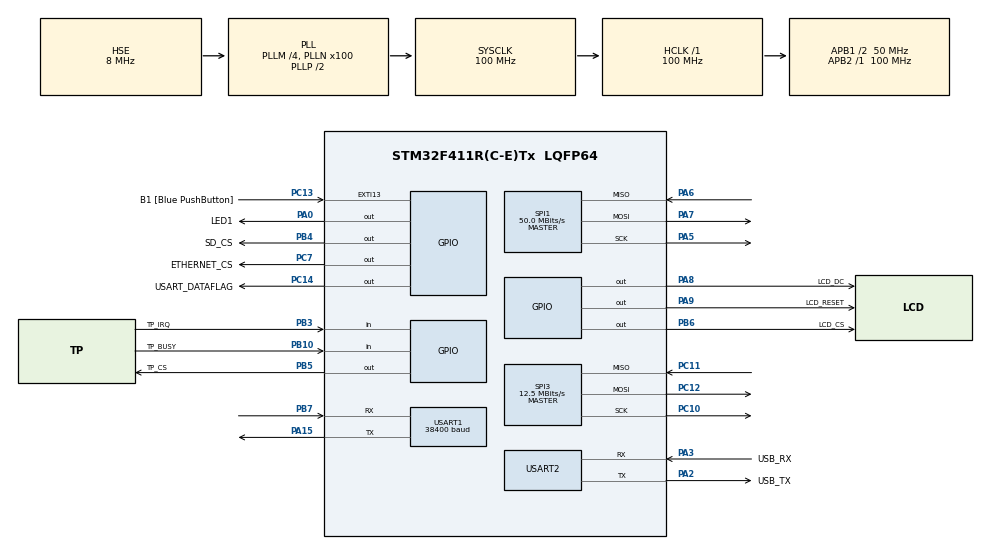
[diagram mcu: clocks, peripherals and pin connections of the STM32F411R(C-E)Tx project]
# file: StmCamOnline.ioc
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Mcu.Family=STM32F4
Mcu.Name=STM32F411R(C-E)Tx
Mcu.Package=LQFP64
NVIC.PriorityGroup=NVIC_PRIORITYGROUP_0
NVIC.USART1_IRQn=true\:0\:0\:false\:false\:true\:true\:true
NVIC.USART2_IRQn=true\:0\:0\:false\:false\:true\:true\:true
PA0-WKUP.GPIO_Label=LED1
PA0-WKUP.GPIO_Speed=GPIO_SPEED_FREQ_LOW
PA0-WKUP.Signal=GPIO_Output
PA13.GPIO_Label=TMS
PA13.Mode=Serial_Wire
PA13.Signal=SYS_JTMS-SWDIO
PA14.GPIO_Label=TCK
PA14.Mode=Serial_Wire
PA14.Signal=SYS_JTCK-SWCLK
PA15.Mode=Asynchronous
PA15.Signal=USART1_TX
PA2.GPIO_Label=USB_TX
PA2.Mode=Asynchronous
PA2.Signal=USART2_TX
PA3.GPIO_Label=USB_RX
PA3.Mode=Asynchronous
PA3.Signal=USART2_RX
PA5.Mode=Full_Duplex_Master
PA5.Signal=SPI1_SCK
PA6.Mode=Full_Duplex_Master
PA6.Signal=SPI1_MISO
PA7.Mode=Full_Duplex_Master
PA7.Signal=SPI1_MOSI
PA8.GPIO_Label=LCD_DC
PA8.GPIO_Speed=GPIO_SPEED_FREQ_VERY_HIGH
PA8.Signal=GPIO_Output
PA9.GPIO_Label=LCD_RESET
PA9.GPIO_Speed=GPIO_SPEED_FREQ_VERY_HIGH
PA9.Signal=GPIO_Output
PB10.GPIO_Label=TP_BUSY
PB10.Signal=GPIO_Input
PB3.GPIO_Label=TP_IRQ
PB3.Signal=GPIO_Input
PB4.GPIO_Label=SD_CS
PB4.GPIO_Speed=GPIO_SPEED_FREQ_VERY_HIGH
PB4.Signal=GPIO_Output
PB5.GPIO_Label=TP_CS
PB5.GPIO_Speed=GPIO_SPEED_FREQ_VERY_HIGH
PB5.Signal=GPIO_Output
PB6.GPIO_Label=LCD_CS
PB6.GPIO_Speed=GPIO_SPEED_FREQ_VERY_HIGH
PB6.Signal=GPIO_Output
PB7.Mode=Asynchronous
PB7.Signal=USART1_RX
PC10.Mode=Full_Duplex_Master
PC10.Signal=SPI3_SCK
PC11.Mode=Full_Duplex_Master
PC11.Signal=SPI3_MISO
PC12.Mode=Full_Duplex_Master
PC12.Signal=SPI3_MOSI
PC13-ANTI_TAMP.GPIO_Label=B1 [Blue PushButton]
PC13-ANTI_TAMP.GPIO_ModeDefaultEXTI=GPIO_MODE_IT_FALLING
PC13-ANTI_TAMP.GPIO_PuPd=GPIO_NOPULL
PC13-ANTI_TAMP.Signal=GPXTI13
PC14-OSC32_IN.GPIO_Label=USART_DATAFLAG
PC14-OSC32_IN.GPIO_Speed=GPIO_SPEED_FREQ_LOW
PC14-OSC32_IN.Signal=GPIO_Output
PC7.GPIO_Label=ETHERNET_CS
PC7.GPIO_Speed=GPIO_SPEED_FREQ_VERY_HIGH
PC7.Signal=GPIO_Output
PH0\ -\ OSC_IN.Mode=HSE-External-Clock-Source
PH0\ -\ OSC_IN.Signal=RCC_OSC_IN
PH1\ -\ OSC_OUT.Mode=HSE-External-Clock-Source
PH1\ -\ OSC_OUT.Signal=RCC_OSC_OUT
ProjectManager.HeapSize=0x200
ProjectManager.StackSize=0x400
ProjectManager.TargetToolchain=STM32CubeIDE
RCC.48MHZClocksFreq_Value=50000000
RCC.AHBFreq_Value=100000000
RCC.APB1CLKDivider=RCC_HCLK_DIV2
RCC.APB1Freq_Value=50000000
RCC.APB1TimFreq_Value=100000000
RCC.APB2Freq_Value=100000000
RCC.APB2TimFreq_Value=100000000
RCC.CortexFreq_Value=100000000
RCC.FLatency-AdvancedSettings=FLASH_LATENCY_3
RCC.HCLKFreq_Value=100000000
RCC.HSE_VALUE=8000000
RCC.HSI_VALUE=16000000
RCC.LSE_VALUE=32768
RCC.PLLM=4
RCC.PLLN=100
RCC.PLLSourceVirtual=RCC_PLLSOURCE_HSE
RCC.SYSCLKFreq_VALUE=100000000
RCC.SYSCLKSource=RCC_SYSCLKSOURCE_PLLCLK
RCC.VCOOutputFreq_Value=200000000
SPI1.CalculateBaudRate=50.0 MBits/s
SPI1.Direction=SPI_DIRECTION_2LINES
SPI1.Mode=SPI_MODE_MASTER
SPI1.VirtualType=VM_MASTER
SPI3.BaudRatePrescaler=SPI_BAUDRATEPRESCALER_4
SPI3.CalculateBaudRate=12.5 MBits/s
SPI3.Direction=SPI_DIRECTION_2LINES
SPI3.Mode=SPI_MODE_MASTER
SPI3.VirtualType=VM_MASTER
USART1.BaudRate=38400
USART1.VirtualMode=VM_ASYNC
USART2.VirtualMode=VM_ASYNC
board=NUCLEO-F411RE

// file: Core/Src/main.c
/* USER CODE BEGIN Header */
/**
  ******************************************************************************
  * @file           : main.c
  * @brief          : Main program body
  ******************************************************************************
  * @attention
  *
  * <h2><center>&copy; Copyright (c) 2019 STMicroelectronics.
  * All rights reserved.</center></h2>
  *
  * This software component is licensed by ST under BSD 3-Clause license,
  * the "License"; You may not use this file except in compliance with the
  * License. You may obtain a copy of the License at:
  *                        opensource.org/licenses/BSD-3-Clause
  *
  ******************************************************************************
  */
/* USER CODE END Header */

#include "main.h"
#include "spi.h"
#include "usart.h"
#include "gpio.h"

/* USER CODE BEGIN Includes */
#include <stdint.h>
#include <stdbool.h>
#include <stm32f4xx.h>
#include <stm32f4xx_hal.h>
//#include "stm32f4xx_hal.h"
//#include "arm_neon.h"  // no neon for cortex-m4
#include "stddef.h"
//#include <stm32f4xx_hal_dma_ex.h>  // dma extended functions
#include <string.h>
#include <stdio.h>
#include <float.h>
#include <math.h>
// those are for ETHERNET
#include "loopback.h"
#include "socket.h"
#include "wizchip_conf.h"
#include "w5500.h"
// those are for LCD + Touch
#include "ILI9341_STM32_Driver.h"
#include "ILI9341_GFX.h"
//#include "snow_tiger.h"

/* USER CODE END Includes */

/* USER CODE BEGIN PTD */
enum pixelcolor_t {
    unreliable = 64,
    edge = 126,
	no_edge = 0
} pixelcolor;

/* USER CODE END PTD */

/* USER CODE BEGIN PD */
#define PRINT_USB  // enables printing Network parameters and to USB serial monitor
#define LCD_USAGE	// comment out to disable LCD usage
//#define DEBUG_PRINT  // default commented. print debug switch to USB serial monitor

/* USER CODE END PD */

/* USER CODE BEGIN PM */

#ifdef PRINT_USB
#define NETWORK_MSG  		 "Network configuration:\r\n"
#define IP_MSG 		 		 "  IP ADDRESS:  %d.%d.%d.%d\r\n"
#define NETMASK_MSG	         "  NETMASK:     %d.%d.%d.%d\r\n"
#define GW_MSG 		 		 "  GATEWAY:     %d.%d.%d.%d\r\n"
#define MAC_MSG		 		 "  MAC ADDRESS: %x:%x:%x:%x:%x:%x\r\n"

#define PRINT_NETINFO(netInfo) do { 																					\
  HAL_UART_Transmit(&huart2, (uint8_t*)NETWORK_MSG, strlen(NETWORK_MSG), 100);											\
  sprintf(msg, MAC_MSG, netInfo.mac[0], netInfo.mac[1], netInfo.mac[2], netInfo.mac[3], netInfo.mac[4], netInfo.mac[5]);\
  HAL_UART_Transmit(&huart2, (uint8_t*)msg, strlen(msg), 100);															\
  sprintf(msg, IP_MSG, netInfo.ip[0], netInfo.ip[1], netInfo.ip[2], netInfo.ip[3]);										\
  HAL_UART_Transmit(&huart2, (uint8_t*)msg, strlen(msg), 100);															\
  sprintf(msg, NETMASK_MSG, netInfo.sn[0], netInfo.sn[1], netInfo.sn[2], netInfo.sn[3]);								\
  HAL_UART_Transmit(&huart2, (uint8_t*)msg, strlen(msg), 100);															\
  sprintf(msg, GW_MSG, netInfo.gw[0], netInfo.gw[1], netInfo.gw[2], netInfo.gw[3]);										\
  HAL_UART_Transmit(&huart2, (uint8_t*)msg, strlen(msg), 100);															\
} while(0)
#endif

#define CAM_BINARY_BUFSIZE 13176
#define CAM_FLOAT_BUFFSIZE 3294

/* USER CODE END PM */

/* USER CODE BEGIN PV */

// if edge is detected once in a frame
// flag is set to 1. Flag is cleared on every new frame
uint8_t edge_lock_flag = 0;
// if edge is detected this variable becomes the number of detection pixel
int32_t edge_position_variable = 0;

const uint8_t cam_request_cartesian = 'Z';	// request cartesian data from camera
const uint8_t cam_request_radial = 'D';	// request radial data from camera
const uint8_t cam_request_close = 'q';  // close connection to camera(not used)
static uint8_t msg[20]={0,};  // ethernet config debug printing

//  values for data exchange on UART1
volatile uint8_t uart_request_flag = 0;
char uart_request_command;

//************* control parameter ***************************************

// LCD draw mode to start with. 0 = raw image. 1 = filtered image
uint8_t LCDmode_flag = 1;
const uint8_t cam_destip[4] = {192, 168, 178, 69};	// camera has static ip
const uint16_t cam_destport = 50002;	//	camera ip port
uint16_t local_port = 49152;	// this must not be constant and is changed in runtime

// hystetesis values for edge detection
// values less tmin is falling edges (white)
// values between tmin and tmax is noise (black)
// values larger tmax are rising edges (white)

const float tmin = -0.18;
const float tmax = 0.18;
//***********************************************************************

uint8_t binarydata_buffer0[CAM_BINARY_BUFSIZE];  // 13176 bytes raw image data
float floatframe_buffer[CAM_FLOAT_BUFFSIZE];  // 3200 floats, header 94 floats

/* USER CODE END PV */

void SystemClock_Config(void);

/* USER CODE BEGIN 0 */

// function prototype definitions
void usb_transmit_byte(uint8_t transmit_int);
void usb_transmit_int(int32_t transmit_int);
void usb_transmit_uint(uint32_t transmit_uint);
void usb_transmit_float(float transmit_float);
void usb_transmit_char(char transmit_char);  // test this
void usb_transmit_string(char *transmit_string);  // test this
void set_LED(bool status);
void cs_sel();
void cs_desel();
uint8_t spi_rb(void);
void spi_wb(uint8_t buf);
void spi_rb_burst(uint8_t *buf, uint16_t len);
void spi_wb_burst(uint8_t *buf, uint16_t len);
void checkpushbutton(void);
int32_t get_cam_data(uint8_t *inputvar);
int32_t close_cam_connection(void);
float canny_edge_mod(const float *floatbuf);
float canny_filter_mod(void);
uint32_t yield_depth_color(float input);
uint32_t yield_edge_color(int8_t edge_value);
bool is_negative(float x);
inline uint32_t SwapByteOrder_32(uint32_t a);
inline uint32_t byteswap2little(uint8_t *value);
inline uint32_t checkfloatbytes(float C);
float pun2float(const uint8_t *buf);
float swap2float(uint8_t *buf);
uint32_t pun2int(const uint8_t *buf);

void drawsquare(float inputvar, uint32_t position);

void drawedge(uint32_t position, uint32_t color);
void detect_edge_hysteresis( float raw_input, float filter_input, int32_t position);
float accessfloatarray(uint8_t *buf, uint8_t floatposition);
void arrayreshaping(uint8_t *arrptr);
void set_edge_flag(int32_t edgeposition);
void uart_response(int32_t edgeposition);

/**
  * @brief  This function is used to print parts of the float array for testing and debugging
  * @retval none
  */
/*
void testfloatarray(void)
{
	float outfloat;
	//	int j = (3199-95);
		int j = 0;
		for(int i = j; i <j+10; i++)  // ok
		{
			usb_transmit_string("i = ");
			usb_transmit_int(i);  //
			usb_transmit_string(" - ");
			outfloat = floatframe_buffer[i];
			usb_transmit_float(outfloat);  //
			usb_transmit_string("\n\r");
		}

		for(int i = 50; i <60; i++)  // ok
		{
			usb_transmit_string("i = ");
			usb_transmit_int(i);  //
			usb_transmit_string(" - ");
			outfloat = floatframe_buffer[i];
			usb_transmit_float(outfloat);  //
			usb_transmit_string("\n\r");
		}

		for(int i = 3120; i <3136; i++)  // ok
		{
			usb_transmit_string("i = ");
			usb_transmit_int(i);  //
			usb_transmit_string(" - ");
			outfloat = floatframe_buffer[i];
			usb_transmit_float(outfloat);  //
			usb_transmit_string("\n\r");
		}

		for(int i = 3189; i <3200; i++)  // ok
		{
			usb_transmit_string("i = ");
			usb_transmit_int(i);  //
			usb_transmit_string(" - ");
			outfloat = floatframe_buffer[i];
			usb_transmit_float(outfloat);  //
			usb_transmit_string("\n\r");
		}
}
*/
/* @brief this function is called if an UART interrupt is raised,
 * means if UART1 received something. Its only purpose is to set the
 *  uart_request_flag and re-enable the interrupt.
 * it is part of the HAL driver.
 */
void HAL_UART_RxCpltCallback(UART_HandleTypeDef *huart)  // RX callback
{
  if (huart->Instance == USART1)
  {

	if(uart_request_command == 'b')
	{
	    uart_request_flag = true;
	}
    /* Re-enable UART1 interrupt */
    HAL_UART_Receive_IT(&huart1, &uart_request_command, 1);  // have to enable interrupt again
  }
}

// Ethernet init procedure
void IO_LIBRARY_Init(void) {
	uint8_t RXbufSize[] =	{ 16, 0, 0, 0, 0, 0, 0, 0, }; // rx buffer size is 0...16, only one socket is usable!
	uint8_t TXbufSize[] =	{ 16, 0, 0, 0, 0, 0, 0, 0, }; // tx buffer size

	reg_wizchip_cs_cbfunc(cs_sel, cs_desel);
	reg_wizchip_spi_cbfunc(spi_rb, spi_wb);

//	bug. spi burst mode does not work. reason unknown.
//	reg_wizchip_spiburst_cbfunc(spi_rb_burst, spi_wb_burst);

	wizchip_init(TXbufSize, RXbufSize);
	wiz_NetInfo netInfo = { .mac =	{ 0x00, 0x08, 0xdc, 0xab, 0xaf, 0xfe },	// Mac address
							.ip =	{ 192, 168, 178, 1},		// IP address
							.sn =	{ 255, 255, 255, 0 },	// Subnet mask
							.gw =	{ 192,  168, 178, 69 } };	// Gateway address

	wizchip_setnetinfo(&netInfo);
#ifdef PRINT_USB
	wizchip_getnetinfo(&netInfo);

	PRINT_NETINFO(netInfo);
#endif

	// network timeout configuration
	wiz_NetTimeout gWIZNETTIME = {.retry_cnt = 3,         //RCR = 3
	                               .time_100us = 2000};     //RTR = 2000
	wizchip_setinterruptmask(IK_SOCK_0);  // Enable interrupt on socket0
	ctlnetwork(CN_SET_TIMEOUT,(void*)&gWIZNETTIME);
	ctlnetwork(CN_GET_TIMEOUT, (void*)&gWIZNETTIME);
}

/* USER CODE END 0 */

int main(void)
{

  /* MCU Configuration--------------------------------------------------------*/

  /* Reset of all peripherals, Initializes the Flash interface and the Systick. */
  HAL_Init();

  /* Configure the system clock */
  SystemClock_Config();

  /* Initialize all configured peripherals */
  MX_GPIO_Init();
  MX_USART2_UART_Init();
  MX_USART1_UART_Init();
  MX_SPI3_Init();
  MX_SPI1_Init();
  /* USER CODE BEGIN 2 */
  // start hardware stuff

  IO_LIBRARY_Init();  // Ethernet lib
  ILI9341_Init();	// LCD Lib
  HAL_UART_Receive_IT(&huart1, &uart_request_command, 1);  // Interrupt on UART1 enabled

  /* USER CODE END 2 */

  /* Infinite loop */
  /* USER CODE BEGIN WHILE */

	#ifndef LCD_USAGE
	ILI9341_Draw_Text( "LCD DISABLED", 50,300, BLACK, 2, WHITE);
	#endif

  uint32_t starttime;
  uint32_t stoptime;
  uint32_t difftime;
  HAL_Delay(500);
  set_LED(true);  // enable led

  while (1)
  {

// 	  Exec time measurement template:
//	  uint32_t starttime;
//	  uint32_t stoptime;
//	  uint32_t difftime;
//	  starttime = HAL_GetTick();  // milliseconds precision
/////////// do something here:
//	  stoptime = HAL_GetTick();
//	  difftime = stoptime - starttime;
//	  usb_transmit_string("Time: ");
//	  usb_transmit_int(difftime);
//	  usb_transmit_string("\n\r");

	starttime = HAL_GetTick();  // milliseconds precision
	#ifdef LCD_USAGE	// check button only if LCD is used
	checkpushbutton();  // check if blue button was pressed
	#endif
	get_cam_data(cam_request_cartesian);	// get camera data
	arrayreshaping(binarydata_buffer0);  // reshape and print raw camera data
	canny_filter_mod();	 // filter and print filtered camera data

	uart_response(edge_position_variable);
	set_edge_flag(edge_position_variable);
  // Transmit refresh rate
	char stringbuf[10];
	stoptime = HAL_GetTick();
	difftime = stoptime - starttime;
	if(difftime>999)
	{
		difftime=999;
	}
	sprintf(stringbuf,  "%d", difftime);

	#ifdef PRINT_USB
	usb_transmit_int(difftime);
	usb_transmit_string("ms\r\n");
	#endif

	#ifdef LCD_USAGE
	ILI9341_Draw_Text( stringbuf, 100,300, BLACK, 2, WHITE);
	#endif

	edge_lock_flag = 0;
    /* USER CODE END WHILE */

  }
}

void SystemClock_Config(void)
{
  RCC_OscInitTypeDef RCC_OscInitStruct = {0};
  RCC_ClkInitTypeDef RCC_ClkInitStruct = {0};

  /** Configure the main internal regulator output voltage
  */
  __HAL_RCC_PWR_CLK_ENABLE();
  __HAL_PWR_VOLTAGESCALING_CONFIG(PWR_REGULATOR_VOLTAGE_SCALE1);
  /** Initializes the CPU, AHB and APB busses clocks
  */
  RCC_OscInitStruct.OscillatorType = RCC_OSCILLATORTYPE_HSE;
  RCC_OscInitStruct.HSEState = RCC_HSE_BYPASS;
  RCC_OscInitStruct.PLL.PLLState = RCC_PLL_ON;
  RCC_OscInitStruct.PLL.PLLSource = RCC_PLLSOURCE_HSE;
  RCC_OscInitStruct.PLL.PLLM = 4;
  RCC_OscInitStruct.PLL.PLLN = 100;
  RCC_OscInitStruct.PLL.PLLP = RCC_PLLP_DIV2;
  RCC_OscInitStruct.PLL.PLLQ = 4;
  if (HAL_RCC_OscConfig(&RCC_OscInitStruct) != HAL_OK)
  {
    Error_Handler();
  }
  /** Initializes the CPU, AHB and APB busses clocks
  */
  RCC_ClkInitStruct.ClockType = RCC_CLOCKTYPE_HCLK|RCC_CLOCKTYPE_SYSCLK
                              |RCC_CLOCKTYPE_PCLK1|RCC_CLOCKTYPE_PCLK2;
  RCC_ClkInitStruct.SYSCLKSource = RCC_SYSCLKSOURCE_PLLCLK;
  RCC_ClkInitStruct.AHBCLKDivider = RCC_SYSCLK_DIV1;
  RCC_ClkInitStruct.APB1CLKDivider = RCC_HCLK_DIV2;
  RCC_ClkInitStruct.APB2CLKDivider = RCC_HCLK_DIV1;

  if (HAL_RCC_ClockConfig(&RCC_ClkInitStruct, FLASH_LATENCY_3) != HAL_OK)
  {
    Error_Handler();
  }
}

/* USER CODE BEGIN 4 */

// debug functions for usb printing.
void usb_transmit_byte(uint8_t transmit_byte)
{
	HAL_UART_Transmit(&huart2, (uint8_t*) transmit_byte, 1, 100);
}
void usb_transmit_int(int32_t transmit_int)  // ok but sprintf is dangerous
{
	uint8_t stringbuf[10];
	sprintf(stringbuf,  "%i", transmit_int);
	HAL_UART_Transmit(&huart2, (uint8_t*) stringbuf, strlen(stringbuf) , 100);
}
void usb_transmit_uint(uint32_t transmit_uint)  // ok but sprintf is dangerous
{
	uint8_t stringbuf[10];
	sprintf(stringbuf,  "%i", transmit_uint);

	HAL_UART_Transmit(&huart2, (uint8_t*) stringbuf, strlen(stringbuf) , 100);
}
void usb_transmit_char(char transmit_char)
{
	HAL_UART_Transmit(&huart2, &transmit_char, 1, 100);
}
void usb_transmit_string( char *transmit_string)
{
	HAL_UART_Transmit(&huart2, (uint8_t*) transmit_string, strlen(transmit_string) , 100);
}
void usb_transmit_float(float transmit_float)
{
	char fullstring[20];
	char *tmpSign = (transmit_float < 0) ? "-" : " ";
	float tmpVal = (transmit_float < 0) ? -transmit_float : transmit_float;
	int tmpInt1 = tmpVal;                  // Get the integer (9876543210).
	float tmpFrac = tmpVal - tmpInt1;      // Get fraction (0.012).
	int tmpInt2 = (tmpFrac * 100);  // Turn into integer (12).
	sprintf (fullstring, "%s%d.%2d", tmpSign, tmpInt1, tmpInt2);
	HAL_UART_Transmit(&huart2, (uint8_t*) fullstring, strlen(fullstring), 100);
}

// w5500 control functions
void cs_sel()
{
	HAL_GPIO_WritePin(ETHERNET_CS_GPIO_Port, ETHERNET_CS_Pin, GPIO_PIN_RESET); //CS LOW
}

void cs_desel()
{
	HAL_GPIO_WritePin(ETHERNET_CS_GPIO_Port, ETHERNET_CS_Pin, GPIO_PIN_SET); //CS HIGH
}

uint8_t spi_rb(void)
{
	uint8_t buf;
	HAL_SPI_Receive(&hspi3, &buf, 1, 0xFFFFFFFF);
	return buf;
}

void spi_wb(uint8_t buf)
{
	HAL_SPI_Transmit(&hspi3, &buf, 1, 0xFFFFFFFF);
}

void spi_rb_burst(uint8_t *buf, uint16_t len)
{
	HAL_SPI_Receive(&hspi3, &buf, len, 0xFFFFFFFF);
}

void spi_wb_burst(uint8_t *buf, uint16_t len)
{
	HAL_SPI_Transmit(&hspi3, &buf, len, 0xFFFFFFFF);
}

void set_LED(bool status)
{
	HAL_GPIO_WritePin(LED1_GPIO_Port, LED1_Pin, status);
}

/**
  * @brief This function detects a blue button press and swaps(XOR) LCD drawing mode flag
  */
void checkpushbutton(void)
{
	if(HAL_GPIO_ReadPin(B1_GPIO_Port, B1_Pin)==GPIO_PIN_RESET)
	{
		LCDmode_flag ^= 0x01;
		ILI9341_Fill_Screen(WHITE);
	}
}

/**
  * @brief  Low level check if float is negative value.
  * @param input float value for check. this should work with little and
  * big endian systems.
  * @retval 1 if x is negative, otherwise 0
  */
bool is_negative(float x) {
    return signbit(x);
}

/**
  * @brief  Swapping uint32_t from big endian to little endian, compiler optimized version
  * @param uint32_t variable for byteswap
  * @retval uint32_t , swapped
  */
inline uint32_t SwapByteOrder_32(uint32_t a)  // ok
{
  return __builtin_bswap32(a);
}

/**
  * @brief  Swapping 4 bytes of uint8_t array from big endian to little endian.
  * @param bytes buffer to access by punning
  * @retval uint32_t value of 4 bytes in array, swapped
  */
inline uint32_t byteswap2little(uint8_t *value)
{
	uint32_t tmpint;
	memcpy(&tmpint, value, 4);
	return __builtin_bswap32(tmpint);
}

/**
  * @brief  Showing uint32_t bit representation of float value
  * @param float value to access by punning
  * @retval uint32_t type representation of float value
  */
inline uint32_t checkfloatbytes(float C)
{
  union {
    uint32_t i;
    float f;
  } in;
  in.f = C;
//  out.i = SwapByteOrder_32(in.i);
  return in.i;
}

/**
  * @brief  Type punning access of 4 bytes as a 32 bit little endian float.
  * @retval float form 4 bytes. not byte-swapping version
  */
float pun2float(const uint8_t *buf)
{
    // from https://blog.regehr.org/archives/959
  float num;
  memcpy(&num, buf, 4);
//    return __builtin_bswap32(num);
  return num;
}
/**
  * @brief  Swapping 4 bytes of uint8_t array and type punning access of 4 bytes as a 32 bit little endian float.
  * @param bytes buffer to access by punning
  * @retval float from swapped 4 bytes
  */
float swap2float(uint8_t *buf)
{
// from https://blog.regehr.org/archives/959
	uint32_t tmpswap = byteswap2little(buf);
	float num;
	memcpy(&num, &tmpswap, 4);
	return num;
}

/**
  * @brief  Type punning access of 4 bytes as a 32 bit little endian uint32_t.
  * @param bytes buffer to access by punning
  * @retval uint32_t type from 4 bytes.
  */
uint32_t pun2int(const uint8_t *buf)
{
    // from https://blog.regehr.org/archives/959

  uint32_t num;
  memcpy(&num, buf, 4);
//  return __builtin_bswap32(num);  // swap endianness
  return num;
}

/**
  * @brief  this function draws a single square(pixel) on the lcd on
  * requested position. color is calculated with the function yield_depth_color
  * the pixels are rectangular and can be zoomed by zoom variable.
  * @param float input color value
  * @param pixel position correlating camera array pixel position
  * @retval none
  */
void drawsquare(float inputvar, uint32_t position)
{
	uint16_t zoom = 4;
	uint16_t row ,column;
	column = ((position / 64))*zoom;  // y
	row = (64-(position % 64))*zoom;  // x, mirroring on x-axis
	ILI9341_Draw_Rectangle(column,row , zoom, zoom, yield_depth_color(inputvar));
}

/**
  * @brief  Type punning access of 4 bytes as a 32 bit swapped bytes float.
  * @retval uint32_t
  */
/**
  * @brief  Swapping 4 bytes of uint8_t array and type punning access
  * of 4 bytes as a 32 bit little endian float.
  * This version implements punning access on random buffer array position.
  * @param bytes buffer to access by punning
  * @param start position of buffer array access
  * @retval float from swapped 4 bytes
  */
float accessfloatarray(uint8_t *buf, uint8_t floatposition)
{
	return swap2float((buf+4*floatposition));
}

/**
  * @brief this function yields a RGB color code from input value.
  *	it is used to draw a deep map from raw image data.
  * @param random float value
  * @retval RGB565 color code, if input is positive. BLAC color if input negative
  */
uint32_t yield_depth_color(float input)
{
	// 565-RGB linear colorbar
	uint32_t colorarray[22] = {
			0xF800,	 // red
			0xFB20,
			0xFDE0,
			0xFDE0,  // yellow
			0xFEE0,
			0xFF80,
			0xDFE0,
			0xB7E0,  // green
			0x87E0,
			0x3FE0,
			0x07C7,
			0x07F3,
			0x07FB,  // green-blue
			0x079F,
			0x063F,
			0x041F,  // blue
			0x027F,
			0x017F,
			0x181F,
			0x401F,
			0x701F,  // purple
			0x981F};

	// depth thredshold. Non-adaptive implementation
	const float addsome = 0.05;  // adjust this if image is blurry
	const float t1 = 0.05 + addsome;
	const float t2 = 0.1 + addsome;
	const float t3 = 0.15 + addsome;
	const float t4 = 0.2 + addsome;
	const float t5 = 0.25 + addsome;
	const float t6 = 0.3 + addsome;
	const float t7 = 0.35 + addsome;
	const float t8 = 0.4 + addsome;
	const float t9 = 0.45 + addsome;
	const float t10 = 0.5 + addsome;
	const float t11 = 0.55 + addsome;
	const float t12 = 0.6 + addsome;
	const float t13 = 0.65 + addsome;
	const float t14 = 0.7 + addsome;
	const float t15 = 0.75 + addsome;
	const float t16 = 0.8 + addsome;
	const float t17 = 0.85 + addsome;
	const float t18 = 0.9 + addsome;
	const float t19 = 0.95 + addsome;
	const float t20 = 1.0 + addsome;

	if(is_negative(input)==1) {
		return BLACK;
	} else if (input<t1) {
		return colorarray[0];
	} else if (input<t2) {
		return colorarray[1];
	} else if (input<t3) {
		return colorarray[2];
	} else if (input<t4) {
		return colorarray[3];
	} else if (input<t5) {
		return colorarray[4];
	} else if (input<t6) {
		return colorarray[5];
	} else if (input<t7) {
		return colorarray[6];
	} else if (input<t8) {
		return colorarray[7];
	} else if (input<t9) {
		return colorarray[8];
	} else if (input<t10) {
		return colorarray[9];
	} else if (input<t11) {
		return colorarray[10];
	} else if (input<t12) {
		return colorarray[11];
	} else if (input<t13) {
		return colorarray[12];
	} else if (input<t14) {
		return colorarray[13];
	} else if (input<t15) {
		return colorarray[14];
	} else if (input<t16) {
		return colorarray[15];
	} else if (input<t17) {
		return colorarray[16];
	} else if (input<t18) {
		return colorarray[17];
	} else if (input<t19) {
		return colorarray[18];
	} else if (input<t20) {
		return colorarray[19];
	}else if (input>t20) {
		return colorarray[20];;
	}
	return 0;  // foo should not reach this point
}

/**
  * @brief  drawing a pixel depending on absolute input array position and a color value
  * 		color value is taken from yield_edge_color()
  * @param uint32_t position - absolute array position
  * @param uint32_t color  - value from from yield_edge_color()
  * @retval none
  */
void drawedge(uint32_t position, uint32_t color)
{

		uint16_t zoomx = 4;
		uint16_t zoomy = 4;
		uint16_t row ,column;
		column = ((position / 64))*zoomy;  // y
		row = (64-(position % 64))*zoomx;  // x
		ILI9341_Draw_Rectangle(column, row, zoomy, zoomx, color);

}

/**
  * @brief this function yields WHITE if input value is detected edge,
  * 		BLACK if input value is no edge detected
  * 		and RED if unreliable data is detected which happens when
  * 		camera returns -1 or -2 while detecting false illumination
  * @param random float value
  * @retval RGB565 color code
  */
uint32_t yield_edge_color(int8_t edge_value)
{
	switch(edge_value)
	{
		case unreliable: return RED; break;
		case edge: return WHITE; break;
		case no_edge: return BLACK; break;
		default: return RED; break;  // if something goes wrong
	}
}

/**
  * @brief this function detects edge, no edge or unreliable pixel
  * with tmin, tmax and input pixel. if an input pixel is unreliable,
  * edge_position_variable is position of the unreliable pixel signed negative.
  * If an edge is detected, edge_position_variable is position of the unreliable pixel signed positive.
  * The algorithm sets always the first detected edge or unreliable position and ignores
  * further detected positions. The position is always reset on every new frame.
  * If no edge is detected, edge_position_variable is 0x7fff(HEX), witch is  32767(DEC),
  * but if an edge or unreliable pixel was detected before, it wont be overwritten.
  * Also this function draws an edge pixel depending on previous detection.
  * Filtered array position index is from 65 to 3134 (3070 elements).
  * Filtered frame array is smaller  because of the convolution calculation.
  *
  * @param raw data float value at raw array position
  * @param calculated fliter value from colvolution at raw data array position
  * @param center position from raw data input array
  * @retval none
  */
void detect_edge_hysteresis( float raw_input, float filter_input, int32_t position)
{
	//	edge thredshold hysteresis
	if(is_negative(raw_input)==true)
	{
		if(edge_lock_flag == 0)
		{
			edge_lock_flag = 1;
			edge_position_variable = -position;  // edge detected on this position
		}

		#ifdef LCD_USAGE
		if(LCDmode_flag == 1)
		{
			drawedge(position, yield_edge_color(unreliable));
		}
		#endif

	} else if(filter_input<tmin || filter_input>tmax)
	{
		if(edge_lock_flag == 0)
		{
			edge_lock_flag = 1;
			edge_position_variable = position;  // edge detected on this position
		}
		#ifdef LCD_USAGE
		if(LCDmode_flag == 1)
		{
			drawedge(position, yield_edge_color(edge));
		}
		#endif

	} else {
		if(edge_lock_flag != 1)
		{
			edge_position_variable = 0x7fff;  // edge detected on this position
		}
		#ifdef LCD_USAGE
		if(LCDmode_flag == 1)
		{
			drawedge(position, yield_edge_color(no_edge));
		}
		#endif
	}

}

/**
  * @brief  This function reshapes the raw camera data to a float array
  * 		reshaped data is written to floatframe_buffer global array
  * @param	pointer to raw data array
  * @retval none
  */
void arrayreshaping(uint8_t *arrptr)
{
	uint8_t *tmpptr;
	for(int i = 0; i < 3200; i++)  // maybe 3200 - i
	{
		// input pointer is shifted by 376 bit to cut off the data header
		tmpptr = arrptr + 376 + 4*i;
		floatframe_buffer[i] = swap2float(tmpptr );
		#ifdef LCD_USAGE
		if(LCDmode_flag == 0)
		{
			drawsquare(floatframe_buffer[i],i);
		}
		#endif
	}
}

/**
  * @brief  this function  sets a flag on USART_DATAFLAG_Pin and turns on the LED
  * if an edge or an unreliable pixel is detected
  * @param	edge position value calculated by detect_edge_hysteresis()
  * @retval none
  */
void set_edge_flag(int32_t edgeposition)
{

	if (edge_lock_flag == 1)
	{
		set_LED(1);  // on
		HAL_GPIO_WritePin(USART_DATAFLAG_GPIO_Port, USART_DATAFLAG_Pin, 1);

	} else {
		set_LED(0);  // off
		HAL_GPIO_WritePin(USART_DATAFLAG_GPIO_Port, USART_DATAFLAG_Pin, 0);
	}
}
/**
  * @brief  this function responds on uart request on UART1.
  * the response is a string containing the edge position calculated
  * by detect_edge_hysteresis() function
  * @param	edge position value calculated by detect_edge_hysteresis()
  * @retval none
  */
void uart_response(int32_t edgeposition)
{
	char stringbuf[12];
	union unionNum {
	  int32_t num;
	  uint8_t arr[4];
	}union_access;

	char string_termination = '\0';
	union_access.num = edgeposition;

	if(uart_request_flag == true)	// if arduino request data
	{
		// put int32_t into 4 bytes and terminate the string
		stringbuf[0] = union_access.arr[0];
		stringbuf[1] = union_access.arr[1];
		stringbuf[2] = union_access.arr[2];
		stringbuf[3] = union_access.arr[3];
		stringbuf[4] = string_termination;

		// send 4 bytes and string termiation char
		HAL_UART_Transmit(&huart1,  stringbuf, 5 , 100);

		usb_transmit_string("\n\rSending:");
		usb_transmit_uint(union_access.num);
		usb_transmit_string("\n\r");

	}
	uart_request_flag = false;  // clear request flag
}

/**
  * @brief this function requests data by using the w5500 chip socket feature.
  * 		after 55ms delay receiving buffer is read to 'binarydata_buffer0' global array
  * 		the socket is kept alive all the time so reconnect is not needed.
  *
  * @param uint8_t recieved data is written in this array
  * @retval int32_t 0 when function finishes successfully
  */
int32_t get_cam_data(uint8_t *inputvar)
{
	int32_t ret_sock = 0;
	int32_t ret_connect = 0;
	int32_t ret_rcv = 0;  // Dont delete this!
	int32_t bytes_toread;
	int32_t bytes_received;
	int32_t bytes_burst;
	uint16_t size = 0;
	uint16_t sn = 0; // using only socket 0
	while(!((getPHYCFGR() & PHYCFGR_LNK_ON)==PHYCFGR_LNK_ON)) // phy link check
	{
		usb_transmit_string("\r\n NETWORK Cable not connected \r\n");
		ILI9341_Draw_Text( "ETH CABLE ERROR", 10,287, RED, 2, WHITE);
		if(((getPHYCFGR() & PHYCFGR_LNK_ON)==PHYCFGR_LNK_ON))
		{
			ILI9341_Fill_Screen(WHITE);
			HAL_Delay(500);
		}
	}
    switch(getSn_SR(sn))
    {
    	case SOCK_ESTABLISHED :
     // send data here:
    		send(sn, &inputvar, 1);
    		// wait here between response

				#ifndef LCD_USAGE
				HAL_Delay(55);  // delay for network reply needed
				#endif

    		if((size = getSn_RX_RSR(sn)) > 0)
    		{  // If data in rx buffer
    			bytes_toread = CAM_BINARY_BUFSIZE;
    			bytes_received = 0;
    			while(bytes_toread>=1)
    			{
    				bytes_burst = recv(sn, &binarydata_buffer0[bytes_received], bytes_toread);
    				bytes_received = bytes_received + bytes_burst;
    				bytes_toread = CAM_BINARY_BUFSIZE - bytes_received;
				}
    		} else {
				#ifdef PRINT_USB:
    			usb_transmit_string("\r\n Stream unstable \r\n");
				#endif

//				HAL_Delay(100);  // delay for network reply needed

    		}
    		break;
   		case SOCK_CLOSE_WAIT :
			if((ret_connect=disconnect(sn)) != SOCK_OK) return ret_connect;
			#ifdef PRINT_USB:
			usb_transmit_string("SockWait\r\n");
			#endif
   			break;
   		case SOCK_CLOSED :
			#ifdef PRINT_USB:
   			usb_transmit_string("SOCK_CLOSED\r\n");
			#endif
			if((ret_sock=socket(sn, Sn_MR_TCP, local_port, 0x0)) != sn)
			{
				usb_transmit_string("SOCK_CLOSED_ERROR\r\n");
				usb_transmit_int(ret_connect);
				close(sn);
				return ret_sock;
			}
			local_port++;  // avoid reusing static local port
			if(local_port > 65000){
				local_port = 49152;
			}

   			break;

   		case SOCK_INIT :
			#ifdef PRINT_USB:
   			usb_transmit_string("SOCK_INIT\r\n");
			#endif

			while((ret_connect = connect(sn, cam_destip, cam_destport)) != SOCK_OK)
			{
				#ifdef PRINT_USB
				HAL_Delay(10);
				usb_transmit_string("Connect error return:");
				usb_transmit_int(ret_connect);
				usb_transmit_string("r\n");
				usb_transmit_string("Reconnecting.\r\n");
				#endif
				#ifdef LCD_USAGE
				#endif
				return ret_connect;
			}
   			break;
   		default :
   			break;
   }
   return 0;  // finished
}

/**
  * @brief this function closes camera connection by
  * sending a 'q' char to the camera.
  * the function is not used since the connection must not
  * be shut down on continuous operation
  * @param none
  * @retval 0 when function finishes successfully
  */

int32_t close_cam_connection(void)
{
	int32_t ret_sock = 0;
	int32_t ret_connect = 0;
//	int32_t ret_rcv = 0;
//	uint16_t size = 0;
	uint16_t sn = 0; // using only socket 0

	while(!getPHYCFGR());  // phy link check
    switch(getSn_SR(sn))
    {
    	case SOCK_ESTABLISHED :
     // send data here:
    		send(sn, &cam_request_close, 1);
    		// wait here between response
    	    HAL_Delay(100);  // delay for closing reply
    		break;
   		case SOCK_CLOSE_WAIT :
			if((ret_connect=disconnect(sn)) != SOCK_OK) return ret_connect;
			usb_transmit_string("CloseOK\r\n");
   			break;
   		case SOCK_CLOSED :
   			usb_transmit_string("SOCK_CLOSED\r\n");
			if((ret_sock=socket(sn, Sn_MR_TCP, local_port, 0x0)) != sn)
			{
				usb_transmit_string("SOCK_CLOSED_ERROR\r\n");
				usb_transmit_int(ret_connect);
				close(sn);
				return ret_sock;
			}
			local_port++;  // avoid reusing static local port
			if(local_port > 65000){
				local_port = 49152;
			}

   			break;

   		case SOCK_INIT :
   			usb_transmit_string("SOCK_INIT\r\n");

			while((ret_connect = connect(sn, cam_destip, cam_destport)) != SOCK_OK)
			{
				#ifdef PRINT_USB
				HAL_Delay(10);
				usb_transmit_string("\r\nConnect error return:");
				usb_transmit_int(ret_connect);
				usb_transmit_string("Reconnecting.\r\n");
				#endif
				return ret_connect;
			}
   			break;
   		default :
   			break;
   }
   return 0;  // finished
}

/**
  * @brief	this function calculates a convolution between two matrices
  * @param in		pointer to input matrix to convolute with
  * @param out		pointer to output matrix
  * @param kernel	pointer to convolution matrix kernel
  * @param nx		x number of input matrix elements
  * @param ny		y number of input matrix elements
  * @param kn		kernel size of convolution matrix
  * @retval none
  */
void convolution(const float *in, float *out, const float *kernel,
                 const int nx, const int ny, const int kn )
{
    const int khalf = kn / 2;  // half of kernel
    for (int m = khalf; m < nx - khalf; m++)
    {
        for (int n = khalf; n < ny - khalf; n++)
        {
            float pixel = 0.0;
            size_t c = 0;
            for (int j = -khalf; j <= khalf; j++)
            {
                for (int i = -khalf; i <= khalf; i++)
                {
                    pixel += in[(n - j) * nx + m - i] * kernel[c];
                    c++;
                }
               out[n * nx + m] = (float)pixel;
            }
        }
	}
}

/*
 * gaussianFilter:
 * http://www.songho.ca/dsp/cannyedge/cannyedge.html
 * determine size of kernel (odd #)
 * 0.0 <= sigma < 0.5 : 3
 * 0.5 <= sigma < 1.0 : 5
 * 1.0 <= sigma < 1.5 : 7
 * 1.5 <= sigma < 2.0 : 9
 * 2.0 <= sigma < 2.5 : 11
 * 2.5 <= sigma < 3.0 : 13 ...
 * kernelSize = 2 * int(2*sigma) + 3;
 */
// function not in use
void gaussian_filter(const float *in, float *out,
                     const int nx, const int ny, const float sigma)
{
    const int n = 2 * (int)(2 * sigma) + 3;
    const float mean = floorf(n / 2.0f);
    float kernel[n * n]; // variable length array
    size_t c = 0;
    for (int i = 0; i < n; i++)
        for (int j = 0; j < n; j++) {
            kernel[c] = exp(-0.5 * (pow((i - mean) / sigma, 2.0) +
                                    pow((j - mean) / sigma, 2.0)))
									/ (2 * M_PI * sigma * sigma);
            c++;
        }
    convolution(in, out, kernel, nx, ny, n);
}

/**
  * @brief	experimantal function for edge calculation with sobel operator.
  * 		original code from https://rosettacode.org/wiki/Canny_edge_detector
  *
  * @param none
  * @retval none
  */
float canny_filter_mod(void)
{

	// matrix shape
    const int nx = 64;
    const int ny = 50;

    // acces raw data in global array
	float *in = &floatframe_buffer;

    // memory allocation
//  TODO: Find out, how calloc() on stm32 works and why zeros are not filled
    // bug? memory leak? wrong values for array? no dynamic memory alloc on stm32?
//  memory allocation in heap
//	  float *in = calloc(nx * ny * sizeof(float), sizeof(float));
//    float *G = calloc(nx * ny * sizeof(float), sizeof(float));
//    float *after_Gx = calloc(nx * ny * sizeof(float), sizeof(float));
//    float *after_Gy = calloc(3200, sizeof(float));
//    float *nms = calloc(nx * ny * sizeof(float), sizeof(float));
//    float *out = malloc(nx * ny * sizeof(float));

// memory allocation in stack
//    float G[nx * ny];
//    float after_Gx[nx * ny];
    float after_Gy[nx * ny];
//    float after_Gy[3200];
//    float nms[nx * ny];
//    float out[nx * ny];

//	  experimental gaussian filter not in use
//    gaussian_filter(in, out, nx, ny, sigma);

// intensity gradient calculation
	const int32_t khalf = 1;
	const int32_t kn = 3;

	// sobel operator in x direction (not in use)
	const float Gx[] = {-1.0, 0.0, 1.0,
						-1.0, 0.0, 1.0,
						-1.0, 0.0, 1.0};
	// sobel operator in y direction
    const float Gy[] = { 1.0, 1.0, 1.0,
                         0.0, 0.0, 0.0,
                        -1.0,-1.0,-1.0};

	// copy of convolution() function.
    // only gradient in y direction is calculated since
    // edged never appear perpendicular to camera.
    // this improves execution time a lot
	for (int n = khalf; n < ny - khalf; n++)  // n from 1 to 49
	{
		for (int m = khalf; m < nx - khalf; m++)  // m from 1 to 63
		{
			float pixel = 0.0;
			size_t c = 0;
			for (int j = -khalf; j <= khalf; j++)  // j from -1 to 1
			{
				for (int i = -khalf; i <= khalf; i++)  // i from -1 to 1
				{
					// multiply input_array with kernel matrix

					pixel += in[(n - j) * nx + m - i] * Gy[c];  //n*nx is zeilennummer , m is spaltennummer
					c++;
				}
				//
				// result of convolution is a gradient matrix
			}
			after_Gy[n * nx + m] = pixel;
			detect_edge_hysteresis( in[n * nx + m], after_Gy[n * nx + m], n * nx + m);
		}
	}

		// gradient calculation in x direction (not in use)
	/*
	for (int m = khalf; m < nx - khalf; m++)
	{
		{
			for (int n = khalf; n < ny - khalf; n++)
			{
				float pixel = 0.0;
				size_t c = 0;
				for (int j = -khalf; j <= khalf; j++)
				{
					for (int i = -khalf; i <= khalf; i++)
					{
						pixel += in[(n - j) * nx + m - i] * Gx[c];
						c++;
					}
					after_Gx[n * nx + m] = pixel;
				}
			}
		}
	}
	for (int i = 1; i < nx - 1; i++)
	{
		for (int j = 1; j < ny - 1; j++) {
		 size_t c = i + nx * j; // i = column spalte, nx*j = row zeile
  	     //G[c] = abs(after_Gx[c]) + abs(after_Gy[c]);
		 G[c] = hypot(after_Gx[c], after_Gy[c]);
		}
	}

	*/

//		  free reserved memory. not in use because memory allocation in stack used
//        free(after_Gx);
//        free(after_Gy);
//        free(G);
//        free(nms);

	return 0;
}

/* USER CODE END 4 */

void Error_Handler(void)
{
  /* USER CODE BEGIN Error_Handler_Debug */
	/* User can add his own implementation to report the HAL error return state */
	#ifdef DEBUG
	  asm("BKPT #0");
	#else
	  while(1)
	  {
		// looping around and blinking
		HAL_Delay(250);
		HAL_GPIO_TogglePin(LED1_GPIO_Port, LED1_Pin);
	  }
	#endif

  /* USER CODE END Error_Handler_Debug */
}

/************************ (C) COPYRIGHT STMicroelectronics *****END OF FILE****/
